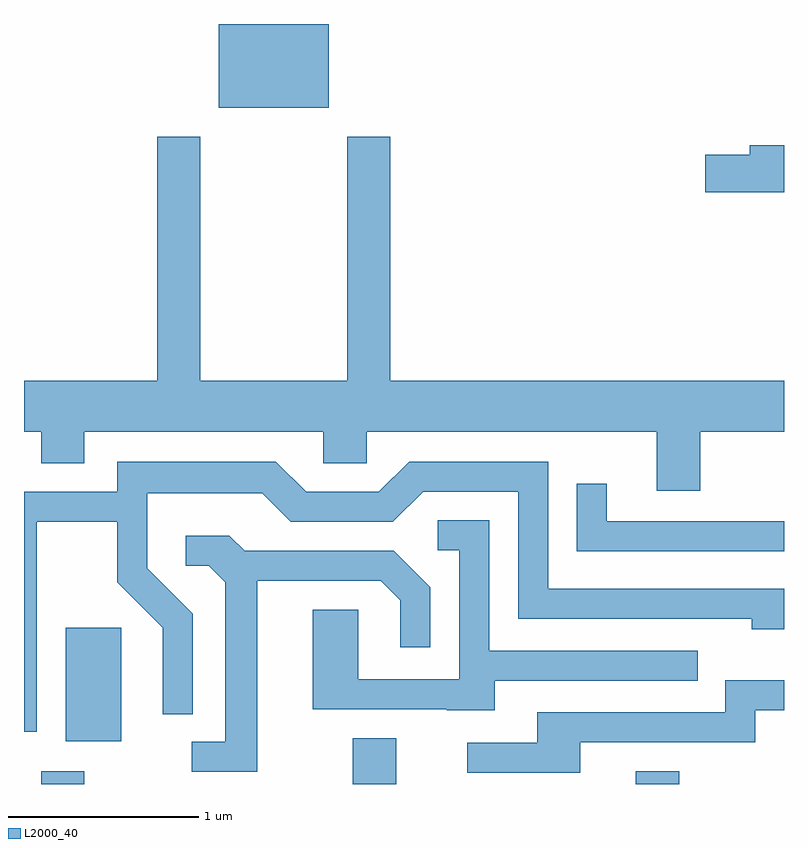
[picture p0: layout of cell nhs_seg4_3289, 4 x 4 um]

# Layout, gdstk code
import gdstk
lib = gdstk.Library(unit=1e-6, precision=1e-09)
def R(c, l, rs):  # rectangles x0, y0, x1, y1
    for r in rs: c.add(gdstk.rectangle(r[:2], r[2:], *l))
def P(c, l, *ps):  # polygons
    for p in ps: c.add(gdstk.Polygon(p, *l))
L2000_40 = (2000, 40)

nhs_seg4_3289 = lib.new_cell('nhs_seg4_3289')
R(nhs_seg4_3289, L2000_40, [(281.701,1303.982,281.929,1304.049), (283.341,1303.982,283.569,1304.224), (284.831,1303.982,285.059,1304.049), (281.831,1304.206,282.124,1304.804), (282.636,1307.541,283.214,1307.982)])
P(nhs_seg4_3289, L2000_40, [(285.169,1305.836),(285.611,1305.836),(285.611,1306.104),(283.539,1306.104),(283.539,1307.389),(283.311,1307.389),(283.311,1306.104),(282.539,1306.104),(282.539,1307.389),(282.311,1307.389),(282.311,1306.104),(281.611,1306.104),(281.611,1305.836),(281.701,1305.836),(281.701,1305.671),(281.929,1305.671),(281.929,1305.836),(283.186,1305.836),(283.186,1305.671),(283.414,1305.671),(283.414,1305.836),(284.941,1305.836),(284.941,1305.526),(285.169,1305.526)],
  [(285.611,1307.344),(285.431,1307.344),(285.431,1307.294),(285.196,1307.294),(285.196,1307.096),(285.611,1307.096)],
  [(281.679,1305.361),(282.101,1305.361),(282.101,1305.044),(282.341,1304.804),(282.341,1304.348),(282.499,1304.348),(282.499,1304.877),(282.259,1305.117),(282.259,1305.511),(282.864,1305.511),(283.014,1305.361),(283.552,1305.361),(283.712,1305.521),(284.211,1305.521),(284.211,1304.851),(285.441,1304.851),(285.441,1304.796),(285.611,1304.796),(285.611,1305.009),(284.369,1305.009),(284.369,1305.679),(283.639,1305.679),(283.479,1305.519),(283.097,1305.519),(282.937,1305.679),(282.101,1305.679),(282.101,1305.519),(281.611,1305.519),(281.611,1304.256),(281.679,1304.256)],
  [(285.611,1305.364),(284.679,1305.364),(284.679,1305.563),(284.521,1305.563),(284.521,1305.206),(285.611,1305.206)],
  [(284.089,1304.526),(285.158,1304.526),(285.158,1304.684),(284.059,1304.684),(284.059,1305.369),(283.788,1305.369),(283.788,1305.211),(283.901,1305.211),(283.901,1304.534),(283.369,1304.534),(283.369,1304.899),(283.131,1304.899),(283.131,1304.376),(283.835,1304.376),(283.835,1304.371),(284.089,1304.371)],
  [(282.839,1305.051),(283.489,1305.051),(283.591,1304.949),(283.591,1304.703),(283.749,1304.703),(283.749,1305.017),(283.557,1305.209),(282.772,1305.209),(282.692,1305.289),(282.463,1305.289),(282.463,1305.131),(282.584,1305.131),(282.671,1305.044),(282.671,1304.204),(282.493,1304.204),(282.493,1304.046),(282.839,1304.046)],
  [(284.539,1304.201),(285.459,1304.201),(285.459,1304.371),(285.611,1304.371),(285.611,1304.529),(285.301,1304.529),(285.301,1304.359),(284.311,1304.359),(284.311,1304.199),(283.943,1304.199),(283.943,1304.041),(284.539,1304.041)])

lib.write_gds('nhs_seg4_3289.gds')
